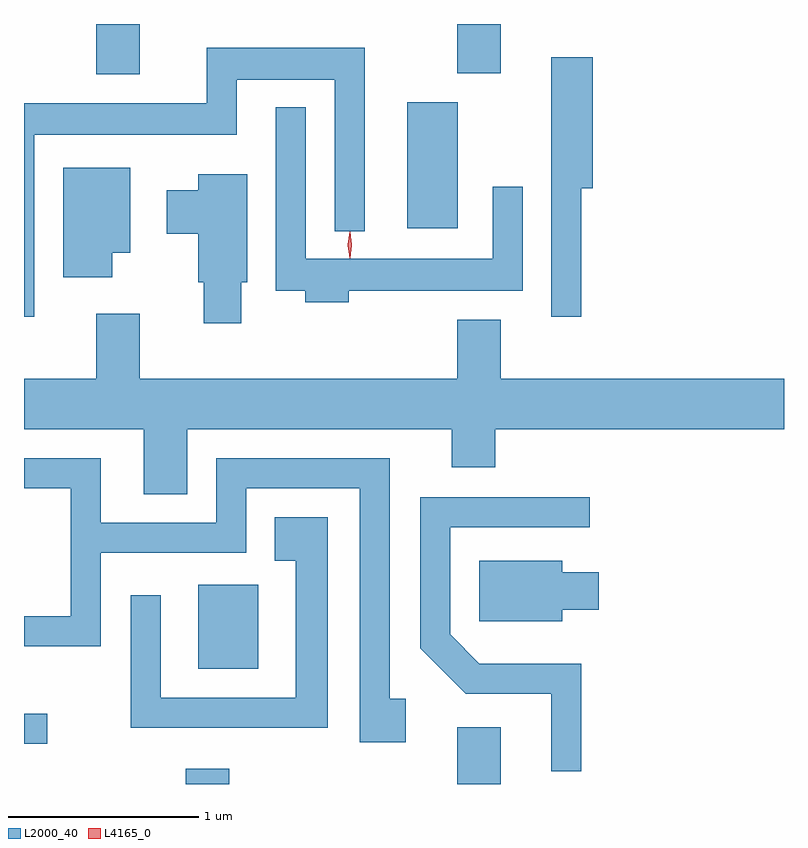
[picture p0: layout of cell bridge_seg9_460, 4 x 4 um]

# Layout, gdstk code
import gdstk
lib = gdstk.Library(unit=1e-6, precision=1e-09)
def R(c, l, rs):  # rectangles x0, y0, x1, y1
    for r in rs: c.add(gdstk.rectangle(r[:2], r[2:], *l))
def P(c, l, *ps):  # polygons
    for p in ps: c.add(gdstk.Polygon(p, *l))
L2000_40 = (2000, 40)
L4165_0 = (4165, 0)

bridge_seg9_460 = lib.new_cell('bridge_seg9_460')
R(bridge_seg9_460, L2000_40, [(619.981,1945.55,620.209,1945.629), (621.411,1945.55,621.639,1945.849), (619.13,1945.761,619.253,1945.919), (620.046,1946.156,620.364,1946.599), (621.146,1948.476,621.414,1949.139), (619.511,1949.286,619.739,1949.55), (621.411,1949.291,621.639,1949.55)])
P(bridge_seg9_460, L2000_40, [(619.184,1948.966),(620.249,1948.966),(620.249,1949.256),(620.766,1949.256),(620.766,1948.458),(620.924,1948.458),(620.924,1949.424),(620.091,1949.424),(620.091,1949.134),(619.13,1949.134),(619.13,1948.008),(619.184,1948.008)],
  [(622.064,1948.686),(622.124,1948.686),(622.124,1949.374),(621.906,1949.374),(621.906,1948.008),(622.064,1948.008)],
  [(620.839,1948.146),(621.754,1948.146),(621.754,1948.693),(621.596,1948.693),(621.596,1948.314),(620.614,1948.314),(620.614,1949.113),(620.456,1949.113),(620.456,1948.146),(620.611,1948.146),(620.611,1948.086),(620.839,1948.086)],
  [(619.594,1948.346),(619.689,1948.346),(619.689,1948.794),(619.336,1948.794),(619.336,1948.216),(619.594,1948.216)],
  [(620.274,1948.191),(620.304,1948.191),(620.304,1948.759),(620.046,1948.759),(620.046,1948.674),(619.881,1948.674),(619.881,1948.446),(620.046,1948.446),(620.046,1948.191),(620.076,1948.191),(620.076,1947.976),(620.274,1947.976)],
  [(619.989,1947.416),(621.381,1947.416),(621.381,1947.216),(621.609,1947.216),(621.609,1947.416),(623.13,1947.416),(623.13,1947.684),(621.639,1947.684),(621.639,1947.994),(621.411,1947.994),(621.411,1947.684),(619.739,1947.684),(619.739,1948.024),(619.511,1948.024),(619.511,1947.684),(619.13,1947.684),(619.13,1947.416),(619.761,1947.416),(619.761,1947.076),(619.989,1947.076)],
  [(621.139,1945.999),(621.054,1945.999),(621.054,1947.264),(620.141,1947.264),(620.141,1946.924),(619.534,1946.924),(619.534,1947.264),(619.13,1947.264),(619.13,1947.106),(619.376,1947.106),(619.376,1946.434),(619.13,1946.434),(619.13,1946.276),(619.534,1946.276),(619.534,1946.766),(620.299,1946.766),(620.299,1947.106),(620.896,1947.106),(620.896,1945.771),(621.139,1945.771)],
  [(622.064,1946.184),(621.527,1946.184),(621.374,1946.337),(621.374,1946.901),(622.108,1946.901),(622.108,1947.059),(621.216,1947.059),(621.216,1946.264),(621.454,1946.026),(621.906,1946.026),(621.906,1945.618),(622.064,1945.618)],
  [(620.729,1946.954),(620.451,1946.954),(620.451,1946.726),(620.561,1946.726),(620.561,1946.004),(619.849,1946.004),(619.849,1946.543),(619.691,1946.543),(619.691,1945.846),(620.729,1945.846)],
  [(621.964,1946.466),(622.154,1946.466),(622.154,1946.664),(621.964,1946.664),(621.964,1946.724),(621.526,1946.724),(621.526,1946.406),(621.964,1946.406)])
P(bridge_seg9_460, L4165_0, [(620.845,1948.317),(620.845,1948.318),(620.835,1948.387),(620.845,1948.456),(620.845,1948.456),(620.846,1948.456),(620.855,1948.387),(620.846,1948.318)],
  [(620.845,1948.319),(620.844,1948.32),(620.835,1948.386),(620.844,1948.452),(620.845,1948.453),(620.846,1948.452),(620.855,1948.386),(620.846,1948.32)])

lib.write_gds('bridge_seg9_460.gds')
